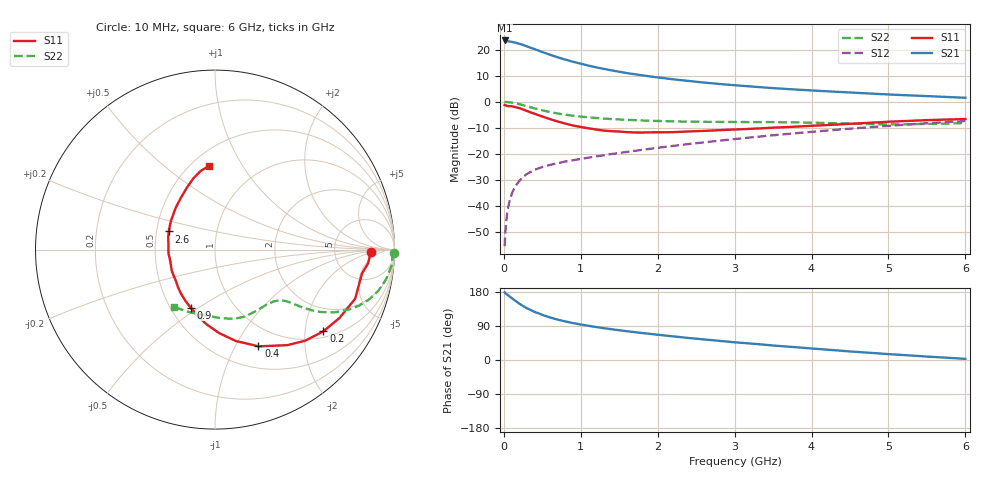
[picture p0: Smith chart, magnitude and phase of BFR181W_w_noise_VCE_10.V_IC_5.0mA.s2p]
! (c) 2017  Infineon Technologies AG, Munich
! Infineon Technologies  Discrete & RF Semiconductors
! BFR181W
! VCE =  10. V,  IC =  5.0 mA
! Common Emitter S-Parameters:  Jan 2017
# GHz  S  MA  R  50
!  f  S11  S21  S12  S22
! GHz  MAG  ANG  MAG  ANG  MAG  ANG  MAG  ANG
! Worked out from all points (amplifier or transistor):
!   77 points, 10 MHz to 6 GHz, reference 50 ohm
!   highest |S21| = 23.5 dB at 10 MHz (marker M1)
!   |S21| within 3 dB of that: start of sweep to 368.3 MHz
!   unconditionally stable (mu >= 1): 1.389 GHz to 3.419 GHz
!   at 130 MHz: K = 0.16, MSG = 28.1 dB, |S12| = -33.5 dB
!   at 2.2 GHz: K = 1.08, MAG = 11.1 dB, |S12| = -16.9 dB
!   at 6 GHz: K = 0.85, MSG = 4.4 dB, |S12| = -7.3 dB
!   lowest NFmin = 0.97 dB at 450 MHz
!   S11 on the Smith chart (normalised r, x): 10 MHz: 14, -2; 200 MHz: 1.17, -2.50; 400 MHz: 0.75, -1.25; 900 MHz: 0.63, -0.46; 2.6 GHz: 0.58, +0.13; 6 GHz: 0.61, +0.73
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0.01  0.8674 -1.0  15.03 178.5  0.0017 94.4  0.9978 -1.0
0.02  0.8566 -5.1  14.9 176.0  0.0032 98.9  0.9883 -1.7
0.04  0.8379 -7.9  14.67 173.2  0.0066 86.6  0.9887 -3.8
0.1  0.8276 -19.3  14.15 163.7  0.0166 81.8  0.9684 -9.7
0.15  0.791 -28.8  13.66 156.3  0.0243 74.7  0.9383 -14.2
0.2  0.7566 -37.0  13 148.9  0.03 71.9  0.9014 -18.0
0.25  0.7137 -45.4  12.35 142.4  0.0364 67.8  0.8626 -21.2
0.3  0.6674 -52.9  11.58 136.6  0.0413 64.8  0.8213 -23.9
0.4  0.5908 -65.8  10.25 126.8  0.0495 60.7  0.7486 -27.9
0.5  0.5222 -77.2  9.002 119.0  0.0562 58.1  0.6861 -30.5
0.6  0.466 -87.1  8.003 112.3  0.0617 56.8  0.6366 -32.1
0.7  0.4196 -96.3  7.141 106.6  0.0663 56.1  0.5967 -33.1
0.9  0.3505 -112.8  5.859 97.4  0.0757 55.9  0.5408 -34.4
1.1  0.31 -127.7  4.954 90.3  0.0849 57.0  0.5041 -35.4
1.3  0.2802 -140.7  4.277 83.9  0.094 57.9  0.478 -36.6
1.6  0.2621 -158.9  3.562 75.9  0.1094 59.3  0.4525 -38.9
2.1  0.2602 176.8  2.82 64.5  0.1368 60.8  0.4255 -44.8
2.6  0.2766 158.5  2.341 54.3  0.1666 60.9  0.4132 -52.4
3.1  0.2982 143.2  2.028 45.2  0.1996 59.8  0.409 -60.2
4.1  0.3522 121.3  1.621 28.9  0.273 55.3  0.3951 -77.0
5.1  0.4205 105.5  1.362 14.3  0.3537 48.1  0.3698 -101.2
6  0.4677 94.0  1.196 3.0  0.43 40.0  0.392 -125.2
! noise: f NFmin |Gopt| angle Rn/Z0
0.45  0.97  0.33  16  0.23
0.9  1.03  0.3  30  0.23
1.9  1.44  0.15  80  0.2
2.4  1.59  0.13  94  0.22
